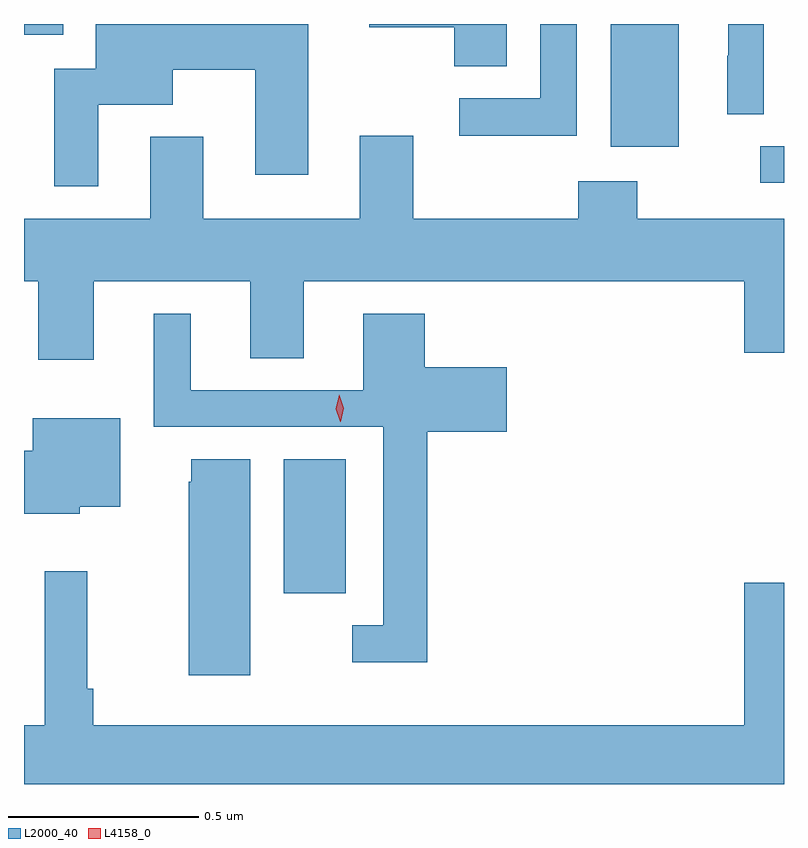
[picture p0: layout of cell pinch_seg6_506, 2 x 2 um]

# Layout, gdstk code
import gdstk
lib = gdstk.Library(unit=1e-6, precision=1e-09)
def R(c, l, rs):  # rectangles x0, y0, x1, y1
    for r in rs: c.add(gdstk.rectangle(r[:2], r[2:], *l))
def P(c, l, *ps):  # polygons
    for p in ps: c.add(gdstk.Polygon(p, *l))
L2000_40 = (2000, 40)
L4158_0 = (4158, 0)

pinch_seg6_506 = lib.new_cell('pinch_seg6_506')
R(pinch_seg6_506, L2000_40, [(859.1,954.507,859.264,954.86), (860.355,955.587,860.417,955.683), (859.961,955.682,860.14,956.005), (858.417,955.977,858.52,956.005)])
P(pinch_seg6_506, L2000_40, [(859.687,956.005),(859.326,956.005),(859.326,955.997),(859.549,955.997),(859.549,955.894),(859.687,955.894)],
  [(858.613,955.793),(858.808,955.793),(858.808,955.885),(859.025,955.885),(859.025,955.608),(859.165,955.608),(859.165,956.005),(858.606,956.005),(858.606,955.887),(858.497,955.887),(858.497,955.578),(858.613,955.578)],
  [(859.872,956.005),(859.776,956.005),(859.776,955.809),(859.563,955.809),(859.563,955.711),(859.872,955.711)],
  [(860.364,956.005),(860.27,956.005),(860.27,955.922),(860.268,955.922),(860.268,955.768),(860.364,955.768)],
  [(858.601,955.328),(859.013,955.328),(859.013,955.126),(859.153,955.126),(859.153,955.328),(860.312,955.328),(860.312,955.14),(860.417,955.14),(860.417,955.492),(860.031,955.492),(860.031,955.591),(859.876,955.591),(859.876,955.492),(859.441,955.492),(859.441,955.711),(859.301,955.711),(859.301,955.492),(858.889,955.492),(858.889,955.708),(858.749,955.708),(858.749,955.492),(858.417,955.492),(858.417,955.328),(858.454,955.328),(858.454,955.122),(858.601,955.122)],
  [(859.478,954.932),(859.687,954.932),(859.687,955.102),(859.472,955.102),(859.472,955.243),(859.31,955.243),(859.31,955.041),(858.856,955.041),(858.856,955.243),(858.758,955.243),(858.758,954.945),(859.362,954.945),(859.362,954.423),(859.281,954.423),(859.281,954.326),(859.478,954.326)],
  [(858.564,954.734),(858.67,954.734),(858.67,954.967),(858.44,954.967),(858.44,954.882),(858.417,954.882),(858.417,954.716),(858.564,954.716)],
  [(859.012,954.86),(858.857,954.86),(858.857,954.801),(858.851,954.801),(858.851,954.291),(859.012,954.291)],
  [(860.417,954.535),(860.312,954.535),(860.312,954.16),(858.599,954.16),(858.599,954.256),(858.584,954.256),(858.584,954.565),(858.471,954.565),(858.471,954.16),(858.417,954.16),(858.417,954.005),(860.417,954.005)])
P(pinch_seg6_506, L4158_0, [(859.249,954.958),(859.238,954.993),(859.246,955.029),(859.246,955.029),(859.247,955.029),(859.258,954.994),(859.25,954.958),(859.25,954.958)])

lib.write_gds('pinch_seg6_506.gds')
